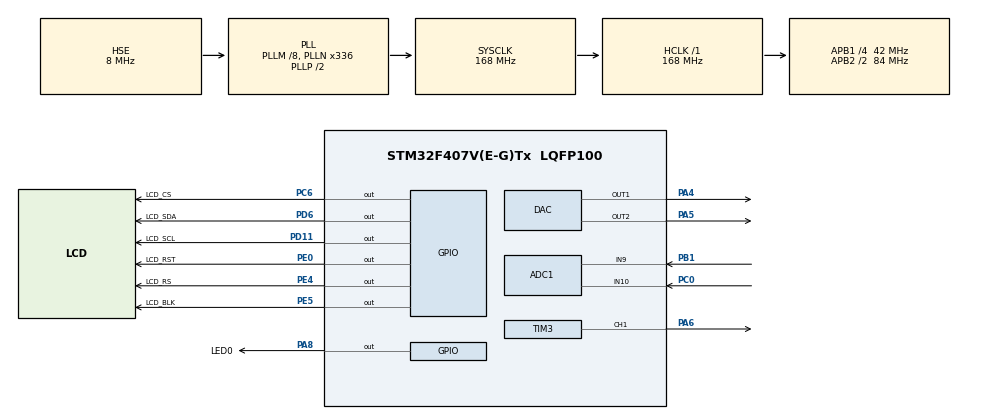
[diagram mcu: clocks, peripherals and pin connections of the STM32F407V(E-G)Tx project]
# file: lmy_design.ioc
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ADC1.Channel-0\#ChannelRegularConversion=ADC_CHANNEL_9
ADC1.Channel-1\#ChannelRegularConversion=ADC_CHANNEL_10
ADC1.Channel-2\#ChannelRegularConversion=ADC_CHANNEL_TEMPSENSOR
ADC1.ContinuousConvMode=ENABLE
ADC1.DMAContinuousRequests=ENABLE
ADC1.NbrOfConversion=3
ADC1.NbrOfConversionFlag=1
ADC1.Rank-0\#ChannelRegularConversion=1
ADC1.Rank-1\#ChannelRegularConversion=2
ADC1.Rank-2\#ChannelRegularConversion=3
ADC1.SamplingTime-0\#ChannelRegularConversion=ADC_SAMPLETIME_3CYCLES
ADC1.SamplingTime-1\#ChannelRegularConversion=ADC_SAMPLETIME_3CYCLES
ADC1.SamplingTime-2\#ChannelRegularConversion=ADC_SAMPLETIME_3CYCLES
ADC1.ScanConvMode=ENABLE
ADC1.master=1
DAC.DAC_Trigger=DAC_TRIGGER_T6_TRGO
DAC.DAC_Trigger2=DAC_TRIGGER_T6_TRGO
DAC.TriangleAmplitude=DAC_TRIANGLEAMPLITUDE_255
DAC.WaveGeneration=TriangleWaveGeneration
Dma.ADC1.0.Direction=DMA_PERIPH_TO_MEMORY
Dma.ADC1.0.FIFOMode=DMA_FIFOMODE_DISABLE
Dma.ADC1.0.Instance=DMA2_Stream0
Dma.ADC1.0.MemDataAlignment=DMA_MDATAALIGN_HALFWORD
Dma.ADC1.0.MemInc=DMA_MINC_ENABLE
Dma.ADC1.0.Mode=DMA_NORMAL
Dma.ADC1.0.PeriphDataAlignment=DMA_PDATAALIGN_HALFWORD
Dma.ADC1.0.PeriphInc=DMA_PINC_DISABLE
Dma.ADC1.0.Priority=DMA_PRIORITY_LOW
Dma.DAC1.1.Direction=DMA_MEMORY_TO_PERIPH
Dma.DAC1.1.FIFOMode=DMA_FIFOMODE_DISABLE
Dma.DAC1.1.Instance=DMA1_Stream5
Dma.DAC1.1.MemDataAlignment=DMA_MDATAALIGN_HALFWORD
Dma.DAC1.1.MemInc=DMA_MINC_ENABLE
Dma.DAC1.1.Mode=DMA_NORMAL
Dma.DAC1.1.PeriphDataAlignment=DMA_PDATAALIGN_HALFWORD
Dma.DAC1.1.PeriphInc=DMA_PINC_DISABLE
Dma.DAC1.1.Priority=DMA_PRIORITY_LOW
Dma.DAC2.2.Direction=DMA_MEMORY_TO_PERIPH
Dma.DAC2.2.FIFOMode=DMA_FIFOMODE_DISABLE
Dma.DAC2.2.Instance=DMA1_Stream6
Dma.DAC2.2.MemDataAlignment=DMA_MDATAALIGN_HALFWORD
Dma.DAC2.2.MemInc=DMA_MINC_ENABLE
Dma.DAC2.2.Mode=DMA_CIRCULAR
Dma.DAC2.2.PeriphDataAlignment=DMA_PDATAALIGN_HALFWORD
Dma.DAC2.2.PeriphInc=DMA_PINC_DISABLE
Dma.DAC2.2.Priority=DMA_PRIORITY_LOW
Dma.Request0=ADC1
Dma.Request1=DAC1
Dma.Request2=DAC2
Mcu.Family=STM32F4
Mcu.Name=STM32F407V(E-G)Tx
Mcu.Package=LQFP100
NVIC.ADC_IRQn=true\:2\:0\:true\:false\:true\:true\:true
NVIC.DMA1_Stream5_IRQn=true\:0\:0\:false\:false\:true\:false\:true
NVIC.DMA1_Stream6_IRQn=true\:0\:0\:false\:false\:true\:false\:true
NVIC.DMA2_Stream0_IRQn=true\:1\:0\:true\:false\:true\:false\:true
NVIC.PriorityGroup=NVIC_PRIORITYGROUP_4
NVIC.TIM3_IRQn=true\:2\:0\:true\:false\:true\:true\:true
PA13.Mode=Serial_Wire
PA13.Signal=SYS_JTMS-SWDIO
PA14.Mode=Serial_Wire
PA14.Signal=SYS_JTCK-SWCLK
PA4.Signal=COMP_DAC1_group
PA5.Signal=COMP_DAC2_group
PA6.Signal=S_TIM3_CH1
PA8.GPIO_Label=LED0
PA8.GPIO_PuPd=GPIO_PULLDOWN
PA8.PinState=GPIO_PIN_SET
PA8.Signal=GPIO_Output
PB1.Signal=ADCx_IN9
PC0.Signal=ADCx_IN10
PC14-OSC32_IN.Mode=LSE-External-Oscillator
PC14-OSC32_IN.Signal=RCC_OSC32_IN
PC15-OSC32_OUT.Mode=LSE-External-Oscillator
PC15-OSC32_OUT.Signal=RCC_OSC32_OUT
PC6.GPIO_Label=LCD_CS
PC6.GPIO_PuPd=GPIO_PULLUP
PC6.GPIO_Speed=GPIO_SPEED_FREQ_VERY_HIGH
PC6.PinState=GPIO_PIN_SET
PC6.Signal=GPIO_Output
PD11.GPIO_Label=LCD_SCL
PD11.GPIO_PuPd=GPIO_PULLUP
PD11.GPIO_Speed=GPIO_SPEED_FREQ_VERY_HIGH
PD11.PinState=GPIO_PIN_SET
PD11.Signal=GPIO_Output
PD6.GPIO_Label=LCD_SDA
PD6.GPIO_PuPd=GPIO_PULLUP
PD6.GPIO_Speed=GPIO_SPEED_FREQ_VERY_HIGH
PD6.PinState=GPIO_PIN_SET
PD6.Signal=GPIO_Output
PE0.GPIO_Label=LCD_RST
PE0.GPIO_PuPd=GPIO_PULLUP
PE0.GPIO_Speed=GPIO_SPEED_FREQ_VERY_HIGH
PE0.PinState=GPIO_PIN_SET
PE0.Signal=GPIO_Output
PE4.GPIO_Label=LCD_RS
PE4.GPIO_PuPd=GPIO_PULLUP
PE4.GPIO_Speed=GPIO_SPEED_FREQ_VERY_HIGH
PE4.PinState=GPIO_PIN_SET
PE4.Signal=GPIO_Output
PE5.GPIO_Label=LCD_BLK
PE5.GPIO_PuPd=GPIO_PULLUP
PE5.GPIO_Speed=GPIO_SPEED_FREQ_VERY_HIGH
PE5.PinState=GPIO_PIN_SET
PE5.Signal=GPIO_Output
PH0-OSC_IN.Mode=HSE-External-Oscillator
PH0-OSC_IN.Signal=RCC_OSC_IN
PH1-OSC_OUT.Mode=HSE-External-Oscillator
PH1-OSC_OUT.Signal=RCC_OSC_OUT
ProjectManager.HeapSize=0x200
ProjectManager.StackSize=0x400
ProjectManager.TargetToolchain=MDK-ARM V5.32
RCC.48MHZClocksFreq_Value=84000000
RCC.AHBFreq_Value=168000000
RCC.APB1CLKDivider=RCC_HCLK_DIV4
RCC.APB1Freq_Value=42000000
RCC.APB1TimFreq_Value=84000000
RCC.APB2CLKDivider=RCC_HCLK_DIV2
RCC.APB2Freq_Value=84000000
RCC.APB2TimFreq_Value=168000000
RCC.CortexFreq_Value=168000000
RCC.HCLKFreq_Value=168000000
RCC.HSE_VALUE=8000000
RCC.HSI_VALUE=16000000
RCC.PLLM=8
RCC.PLLN=336
RCC.PLLSourceVirtual=RCC_PLLSOURCE_HSE
RCC.SYSCLKFreq_VALUE=168000000
RCC.SYSCLKSource=RCC_SYSCLKSOURCE_PLLCLK
RCC.VCOOutputFreq_Value=336000000
SH.ADCx_IN10.0=ADC1_IN10,IN10
SH.ADCx_IN9.0=ADC1_IN9,IN9
SH.COMP_DAC1_group.0=DAC_OUT1,DAC_OUT1
SH.COMP_DAC2_group.0=DAC_OUT2,DAC_OUT2
SH.S_TIM3_CH1.0=TIM3_CH1,PWM Generation1 CH1
TIM3.AutoReloadPreload=TIM_AUTORELOAD_PRELOAD_DISABLE
TIM3.Channel-PWM\ Generation1\ CH1=TIM_CHANNEL_1
TIM3.Period=999
TIM3.Prescaler=83
TIM3.Pulse-PWM\ Generation1\ CH1=0
TIM6.AutoReloadPreload=TIM_AUTORELOAD_PRELOAD_ENABLE
TIM6.Period=20
TIM6.TIM_MasterOutputTrigger=TIM_TRGO_UPDATE
VP_ADC1_TempSens_Input.Mode=IN-TempSens
VP_TIM3_VS_ClockSourceINT.Mode=Internal
VP_TIM6_VS_ClockSourceINT.Mode=Enable_Timer
board=custom

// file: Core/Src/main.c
/* USER CODE BEGIN Header */
/**
  ******************************************************************************
  * @file           : main.c
  * @brief          : Main program body
  ******************************************************************************
  * @attention
  *
  * <h2><center>&copy; Copyright (c) 2022 STMicroelectronics.
  * All rights reserved.</center></h2>
  *
  * This software component is licensed by ST under BSD 3-Clause license,
  * the "License"; You may not use this file except in compliance with the
  * License. You may obtain a copy of the License at:
  *                        opensource.org/licenses/BSD-3-Clause
  *
  ******************************************************************************
  */
/* USER CODE END Header */
#include "main.h"
#include "adc.h"
#include "dac.h"
#include "dma.h"
#include "tim.h"
#include "gpio.h"

/* USER CODE BEGIN Includes */
#include "delay.h"
#include "GUI.h"
#include "Lcd_Driver.h"
#include "adc_function.h"
#include "ntc.h"
#include "fft.h"
#include "arm_math.h"
#include "dac_function.h"
/* USER CODE END Includes */

/* USER CODE BEGIN PV */
volatile uint16_t pulse = 0;
__IO uint8_t uart1_rx_buf[5];
__IO uint8_t Rx_Flag;

/* USER CODE END PV */

void SystemClock_Config(void);

int main(void)
{

  /* MCU Configuration--------------------------------------------------------*/

  /* Reset of all peripherals, Initializes the Flash interface and the Systick. */
  HAL_Init();

  /* Configure the system clock */
  SystemClock_Config();

  /* Initialize all configured peripherals */
  MX_GPIO_Init();
  MX_DMA_Init();
  MX_ADC1_Init();
  MX_DAC_Init();
  MX_TIM6_Init();
  MX_TIM3_Init();
  /* USER CODE BEGIN 2 */
    //初始化液晶屏以及延时函数
    delay_init(168);
    Lcd_Init();
    LCD_BLK_SET;//开启背光
    Lcd_Clear(BLACK);
    //函数数组生成
    windows(1);//加窗并生成窗函数
    DSP_Sine();
    //启动定时器
    HAL_TIM_PWM_Start(&htim3, TIM_CHANNEL_1);
    HAL_TIM_Base_Start_IT(&htim3);
    HAL_TIM_Base_Start(&htim6);
    //三角波
    HAL_DAC_Start(&hdac, DAC_CHANNEL_1);
    //正弦波
    HAL_DAC_Start_DMA(&hdac, DAC_CHANNEL_2, (uint32_t *) DAC_Outputbuf, FFT_Len, DAC_ALIGN_12B_R);
    //启动ADC&&DAC
    HAL_ADC_Start_DMA(&hadc1, (uint32_t *) &ADC_Value, 768);
    //绘制静态数据
    Gui_DrawFont_GBK16(0, 0, WHITE, BLACK, "LMY-FFT-SIG");
    Gui_DrawFont_GBK16(0, 20, WHITE, BLACK, "MCU_TEMP:");
    Gui_DrawFont_GBK16(0, 36, WHITE, BLACK, "NTC_TEMP:");
    Gui_DrawFont_GBK16(100, 36, WHITE, BLACK, "℃");
    Gui_DrawFont_GBK16(100, 20, WHITE, BLACK, "℃");

  /* USER CODE END 2 */

  /* Infinite loop */
    while (1)
    {

    /* USER CODE BEGIN 3 */
        delay_ms(2);
        HAL_ADC_Stop_DMA(&hadc1);
        //采样&&发生
        ADC_FUNCTION();
        TEMP_DATA();
        //温度显示
        LCD_ShowNum(70, 20, MCU_TEMP, 3);//芯片温度
        LCD_ShowNum(70, 36, NTC_TEMP, 3);//NTC温度
        //绘制波形&&局部清屏
        LCD_DrawWave(ADC_IN10_Value,FFT_Len, 1, 159, 55, YELLOW);

        //快速傅里叶变换
        FFT_Function(ADC_IN10_voltage);
        LCD_DrawFFTWave(FFT_MAG_Outputdata, 1, 159, 100, Half_FFT_Len, BLUE);

        //DMA校正
        HAL_ADC_Start_DMA(&hadc1, (uint32_t *) &ADC_Value, 768);

    }
  /* USER CODE END 3 */
}

void SystemClock_Config(void)
{
  RCC_OscInitTypeDef RCC_OscInitStruct = {0};
  RCC_ClkInitTypeDef RCC_ClkInitStruct = {0};

  /** Configure the main internal regulator output voltage
  */
  __HAL_RCC_PWR_CLK_ENABLE();
  __HAL_PWR_VOLTAGESCALING_CONFIG(PWR_REGULATOR_VOLTAGE_SCALE1);
  /** Initializes the RCC Oscillators according to the specified parameters
  * in the RCC_OscInitTypeDef structure.
  */
  RCC_OscInitStruct.OscillatorType = RCC_OSCILLATORTYPE_HSE;
  RCC_OscInitStruct.HSEState = RCC_HSE_ON;
  RCC_OscInitStruct.PLL.PLLState = RCC_PLL_ON;
  RCC_OscInitStruct.PLL.PLLSource = RCC_PLLSOURCE_HSE;
  RCC_OscInitStruct.PLL.PLLM = 8;
  RCC_OscInitStruct.PLL.PLLN = 336;
  RCC_OscInitStruct.PLL.PLLP = RCC_PLLP_DIV2;
  RCC_OscInitStruct.PLL.PLLQ = 4;
  if (HAL_RCC_OscConfig(&RCC_OscInitStruct) != HAL_OK)
  {
    Error_Handler();
  }
  /** Initializes the CPU, AHB and APB buses clocks
  */
  RCC_ClkInitStruct.ClockType = RCC_CLOCKTYPE_HCLK|RCC_CLOCKTYPE_SYSCLK
                              |RCC_CLOCKTYPE_PCLK1|RCC_CLOCKTYPE_PCLK2;
  RCC_ClkInitStruct.SYSCLKSource = RCC_SYSCLKSOURCE_PLLCLK;
  RCC_ClkInitStruct.AHBCLKDivider = RCC_SYSCLK_DIV1;
  RCC_ClkInitStruct.APB1CLKDivider = RCC_HCLK_DIV4;
  RCC_ClkInitStruct.APB2CLKDivider = RCC_HCLK_DIV2;

  if (HAL_RCC_ClockConfig(&RCC_ClkInitStruct, FLASH_LATENCY_5) != HAL_OK)
  {
    Error_Handler();
  }
}

/* USER CODE BEGIN 4 */
void HAL_TIM_PeriodElapsedCallback(TIM_HandleTypeDef *htim)
{
    if (htim->Instance == TIM3)
    {
        if (pulse < 1000)
        {
            pulse++;
        } else
        {
            pulse = 0;
        }

        __HAL_TIM_SET_COMPARE(&htim3, TIM_CHANNEL_1, pulse);

    }

}

/* USER CODE END 4 */

void Error_Handler(void)
{
    __disable_irq();
    while (1)
    {
    }
}

/************************ (C) COPYRIGHT STMicroelectronics *****END OF FILE****/
